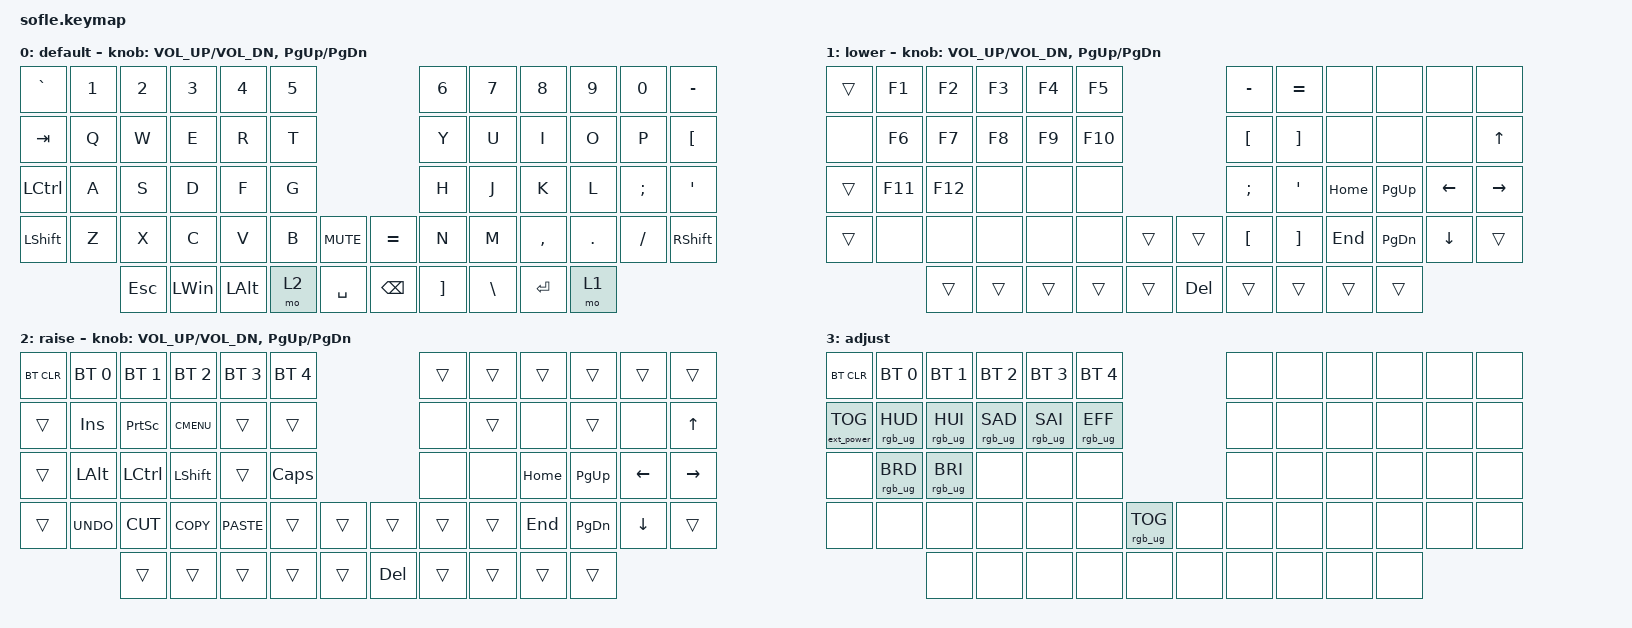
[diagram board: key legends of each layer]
/*
 * Copyright (c) 2020 The ZMK Contributors
 *
 * SPDX-License-Identifier: MIT
 */

#include <behaviors.dtsi>
#include <dt-bindings/zmk/bt.h>
#include <dt-bindings/zmk/ext_power.h>
#include <dt-bindings/zmk/keys.h>
#include <dt-bindings/zmk/rgb.h>

#define BASE 0
#define LOWER 1
#define RAISE 2
#define ADJUST 3

/ {
    // Activate ADJUST layer by pressing raise and lower

    conditional_layers {
        compatible = "zmk,conditional-layers";

        adjust_layer {
            if-layers = <1 2>;
            then-layer = <3>;
        };
    };

    keymap {
        compatible = "zmk,keymap";

        default_layer {
            label = "default";

            // ------------------------------------------------------------------------------------------------------------
            // |   `   |  1  |  2  |  3   |  4   |  5   |                   |  6   |  7    |  8    |  9   |   0   |       |
            // |  ESC  |  Q  |  W  |  E   |  R   |  T   |                   |  Y   |  U    |  I    |  O   |   P   | BKSPC |
            // |  TAB  |  A  |  S  |  D   |  F   |  G   |                   |  H   |  J    |  K    |  L   |   ;   |   '   |
            // | SHIFT |  Z  |  X  |  C   |  V   |  B   |  MUTE  |  |       |  N   |  M    |  ,    |  .   |   /   | SHIFT |
            //               | GUI | ALT  | CTRL | LOWER|  ENTER |  | SPACE | RAISE| CTRL  | ALT   | GUI  |

            bindings = <
&kp GRAVE  &kp N1  &kp N2      &kp N3        &kp N4        &kp N5                               &kp N6             &kp N7         &kp N8     &kp N9   &kp N0    &kp MINUS
&kp TAB    &kp Q   &kp W       &kp E         &kp R         &kp T                                &kp Y              &kp U          &kp I      &kp O    &kp P     &kp LEFT_BRACKET
&kp LCTRL  &kp A   &kp S       &kp D         &kp F         &kp G                                &kp H              &kp J          &kp K      &kp L    &kp SEMI  &kp SQT
&kp LSHFT  &kp Z   &kp X       &kp C         &kp V         &kp B   &kp C_MUTE    &kp EQUAL      &kp N              &kp M          &kp COMMA  &kp DOT  &kp FSLH  &kp RIGHT_SHIFT
                   &kp ESCAPE  &kp LEFT_WIN  &kp LEFT_ALT  &mo 2   &kp SPACE     &kp BACKSPACE  &kp RIGHT_BRACKET  &kp BACKSLASH  &kp ENTER  &mo 1
            >;

            sensor-bindings = <&inc_dec_kp C_VOL_UP C_VOL_DN &inc_dec_kp PG_UP PG_DN>;
        };

        lower_layer {
            label = "lower";

            // TODO: Some binds are waiting for shifted keycode support.
            // ------------------------------------------------------------------------------------------------------------
            // |       |  F1 |  F2 |  F3  |  F4  |  F5  |                   |  F6  |  F7   |  F8   |  F9  |  F10  |  F11  |
            // |   `   |  1  |  2  |  3   |  4   |  5   |                   |  6   |  7    |  8    |  9   |   0   |  F12  |
            // |       |  !  |  @  |  #   |  $   |  %   |                   |  ^   |  &    |  *    |  (   |   )   |   |   |
            // |       |  =  |  -  |  +   |  {   |  }   |        |  |       |  [   |  ]    |  ;    |  :   |   \   |       |
            //               |     |      |      |      |        |  |       |      |       |       |      |

            bindings = <
&trans  &kp F1   &kp F2   &kp F3  &kp F4  &kp F5                      &kp MINUS         &kp EQUAL          &none     &none          &none           &none
&none   &kp F6   &kp F7   &kp F8  &kp F9  &kp F10                     &kp LEFT_BRACKET  &kp RIGHT_BRACKET  &none     &none          &none           &kp UP_ARROW
&trans  &kp F11  &kp F12  &none   &none   &none                       &kp SEMICOLON     &kp SQT            &kp HOME  &kp PAGE_UP    &kp LEFT_ARROW  &kp RIGHT_ARROW
&trans  &none    &none    &none   &none   &none    &trans    &trans   &kp LBKT          &kp RBKT           &kp END   &kp PAGE_DOWN  &kp DOWN_ARROW  &trans
                 &trans   &trans  &trans  &trans   &trans    &kp DEL  &trans            &trans             &trans    &trans
            >;

            sensor-bindings = <&inc_dec_kp C_VOL_UP C_VOL_DN &inc_dec_kp PG_UP PG_DN>;
        };

        raise_layer {
            label = "raise";

            // ------------------------------------------------------------------------------------------------------------
            // | BTCLR | BT1  | BT2  |  BT3  |  BT4  |  BT5 |                |      |      |       |      |       |       |
            // |       | INS  | PSCR | GUI   |       |      |                | PGUP |      |   ^   |      |       |       |
            // |       | ALT  | CTRL | SHIFT |       | CAPS |                | PGDN |   <- |   v   |  ->  |  DEL  | BKSPC |
            // |       | UNDO | CUT  | COPY  | PASTE |      |      |  |      |      |      |       |      |       |       |
            //                |      |       |       |      |      |  |      |      |      |       |      |

            bindings = <
&bt BT_CLR  &bt BT_SEL 0  &bt BT_SEL 1  &bt BT_SEL 2  &bt BT_SEL 3  &bt BT_SEL 4                     &trans  &trans  &trans    &trans     &trans          &trans
&trans      &kp INS       &kp PSCRN     &kp K_CMENU   &trans        &trans                           &none   &trans  &none     &trans     &none           &kp UP_ARROW
&trans      &kp LALT      &kp LCTRL     &kp LSHFT     &trans        &kp CLCK                         &none   &none   &kp HOME  &kp PG_UP  &kp LEFT        &kp RIGHT
&trans      &kp K_UNDO    &kp K_CUT     &kp K_COPY    &kp K_PASTE   &trans        &trans    &trans   &trans  &trans  &kp END   &kp PG_DN  &kp DOWN_ARROW  &trans
                          &trans        &trans        &trans        &trans        &trans    &kp DEL  &trans  &trans  &trans    &trans
            >;

            sensor-bindings = <&inc_dec_kp C_VOL_UP C_VOL_DN &inc_dec_kp PG_UP PG_DN>;
        };

        adjust_layer {
            // ----------------------------------------------------------------------------------------------------------------------------
            // | BTCLR  |  BT1    |  BT2    |   BT3   |   BT4   |   BT5   |                  |      |      |       |      |       |       |
            // | EXTPWR | RGB_HUD | RGB_HUI | RGB_SAD | RGB_SAI | RGB_EFF |                  |      |      |       |      |       |       |
            // |        | RGB_BRD | RGB_BRI |         |         |         |                  |      |      |       |      |       |       |
            // |        |         |         |         |         |         | RGB_TOG | |      |      |      |       |      |       |       |
            //                    |         |         |         |         |         | |      |      |      |       |      |

            label = "adjust";
            bindings = <
&bt BT_CLR         &bt BT_SEL 0     &bt BT_SEL 1     &bt BT_SEL 2     &bt BT_SEL 3     &bt BT_SEL 4                               &none  &none  &none  &none  &none  &none
&ext_power EP_TOG  &rgb_ug RGB_HUD  &rgb_ug RGB_HUI  &rgb_ug RGB_SAD  &rgb_ug RGB_SAI  &rgb_ug RGB_EFF                            &none  &none  &none  &none  &none  &none
&none              &rgb_ug RGB_BRD  &rgb_ug RGB_BRI  &none            &none            &none                                      &none  &none  &none  &none  &none  &none
&none              &none            &none            &none            &none            &none            &rgb_ug RGB_TOG    &none  &none  &none  &none  &none  &none  &none
                                    &none            &none            &none            &none            &none              &none  &none  &none  &none  &none
            >;
        };
    };
};
